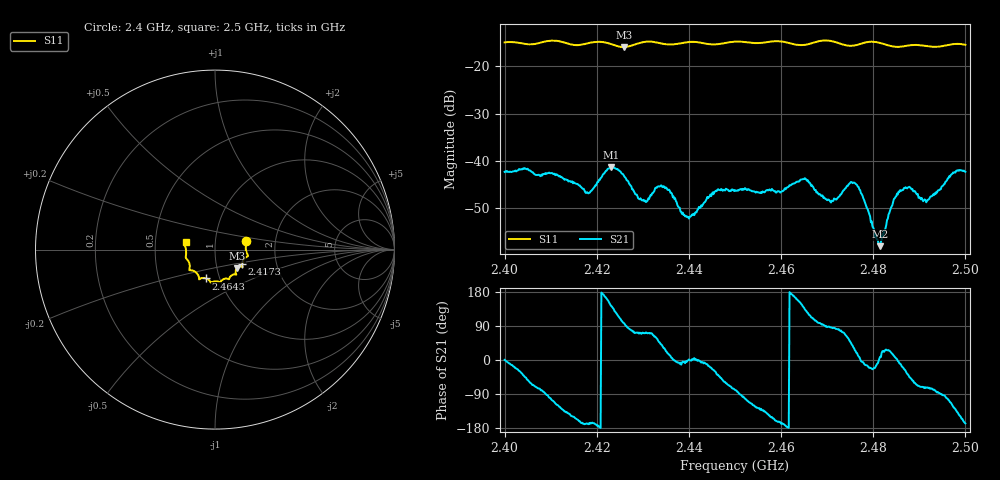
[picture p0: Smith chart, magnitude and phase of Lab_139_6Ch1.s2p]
# Hz S RI R 50
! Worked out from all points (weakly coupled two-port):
!   601 points, 2.4 GHz to 2.5 GHz, reference 50 ohm
!   highest |S21| = -41.28 dB at 2.4232 GHz (marker M1); lowest = -58.0 dB at 2.4815 GHz (marker M2)
!   lowest |S11| = -15.9 dB at 2.4258 GHz (marker M3), VSWR 1.38, Z = 62.4 - j13.3 ohm
!   |S11| at or under -10 dB: start of sweep to end of sweep
!   S12 and S22 are empty: the file has one direction only
!   S11 on the Smith chart (normalised r, x): 2.4 GHz: 1.41, +0.14; 2.4173 GHz: 1.34, -0.23; 2.4643 GHz: 0.86, -0.28; 2.5 GHz: 0.72, +0.06
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2.4e9  0.173 0.0491  0.00768 4.49e-05  0 0  0 0
2.410167e9  0.1841 -0.0342  -0.0019 -0.00719  0 0  0 0
2.416667e9  0.1525 -0.0744  -0.00513 -0.00122  0 0  0 0
2.417333e9  0.1516 -0.0818  -0.0048 -0.000901  0 0  0 0
2.423167e9  0.1445 -0.0937  -0.00684 0.00526  0 0  0 0
2.425833e9  0.1222 -0.1036  -0.000962 0.00702  0 0  0 0
2.430333e9  0.118 -0.1377  0.00123 0.00355  0 0  0 0
2.433333e9  0.1126 -0.1376  0.00343 0.00416  0 0  0 0
2.435667e9  0.0964 -0.1412  0.00483 0.00124  0 0  0 0
2.439667e9  0.0792 -0.1621  0.00258 -9.62e-05  0 0  0 0
2.446e9  0.0477 -0.1646  0.00383 -0.00289  0 0  0 0
2.45e9  0.0286 -0.181  0.000936 -0.00484  0 0  0 0
2.46e9  -0.0243 -0.1824  -0.00462 -0.000985  0 0  0 0
2.464333e9  -0.0498 -0.1605  -0.00542 0.00336  0 0  0 0
2.466667e9  -0.0759 -0.1592  -0.00205 0.00519  0 0  0 0
2.470833e9  -0.0877 -0.164  0.000253 0.00364  0 0  0 0
2.476167e9  -0.1184 -0.1185  0.00528 0.00228  0 0  0 0
2.4815e9  -0.1419 -0.106  0.00124 0.000188  0 0  0 0
2.483333e9  -0.1406 -0.0896  0.00245 0.0012  0 0  0 0
2.486333e9  -0.151 -0.0601  0.00469 -0.00155  0 0  0 0
2.491333e9  -0.1619 -0.0317  0.00108 -0.00373  0 0  0 0
2.5e9  -0.1638 0.0428  -0.00752 -0.00168  0 0  0 0
